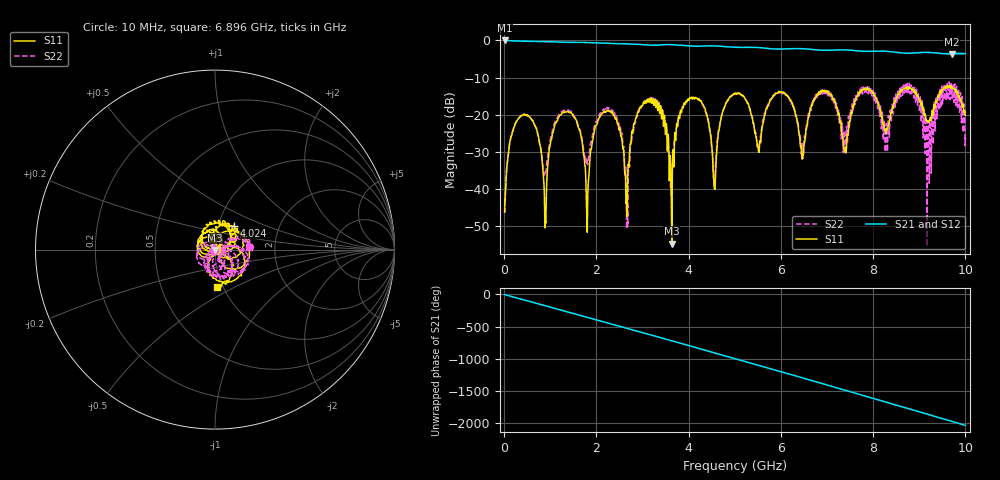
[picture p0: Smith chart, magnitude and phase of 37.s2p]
!Keysight Technologies,E5080B,MY59205177,A.15.75.32
!Date: Friday, February 23, 2024 03:29:00
!Correction: S11(Cdelta 2-Port  )
!S21(Cdelta 2-Port  )
!S12(Cdelta 2-Port  )
!S22(Cdelta 2-Port  )
!S2P File: Measurements: S11, S21, S12, S22:
# Hz S  dB  R 50
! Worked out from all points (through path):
!   10001 points, 10 MHz to 10 GHz, reference 50 ohm
!   highest |S21| = -0.02 dB at 14 MHz (marker M1); lowest = -3.7 dB at 9.701 GHz (marker M2)
!   group delay of S21, straight-line fit = 565 ps
!   lowest |S11| = -54.6 dB at 3.633 GHz (marker M3), VSWR 1.00, Z = 50 - j0.181 ohm
!   |S11| at or under -10 dB: start of sweep to end of sweep
!   |S22| runs from -55.3 to -11.2 dB; largest |S21 - S12| = 0.0015
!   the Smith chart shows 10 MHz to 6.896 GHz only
!   S11 on the Smith chart (normalised r, x): 10 MHz: 1.01, -0.00; 4.024 GHz: 1.19, +0.33; 6.896 GHz: 0.93, -0.41
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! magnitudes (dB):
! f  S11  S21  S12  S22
! 10 MHz  -46.1  0.0  0.0  -46.0
! 14 MHz  -43.2  0.0  0.0  -45.7
! 374.6 MHz  -20.2  -0.2  -0.2  -20.1
! 888.1 MHz  -49.7  -0.3  -0.3  -36.1
! 1.182 GHz  -20.7  -0.4  -0.4  -20.1
! 1.675 GHz  -26.0  -0.5  -0.5  -25.4
! 1.804 GHz  -49.8  -0.6  -0.6  -32.7
! 2.35 GHz  -19.4  -0.8  -0.8  -18.8
! 2.664 GHz  -47.4  -0.9  -0.9  -42.6
! 3.341 GHz  -17.5  -1.2  -1.2  -17.8
! 3.633 GHz  -54.6  -1.1  -1.1  -44.3
! 4.024 GHz  -15.3  -1.5  -1.5  -15.5
! 4.561 GHz  -39.8  -1.5  -1.5  -38.9
! 5.005 GHz  -14.2  -1.8  -1.8  -14.5
! 5.517 GHz  -29.8  -1.9  -1.9  -28.8
! 6.67 GHz  -17.3  -2.4  -2.4  -16.9
! 6.896 GHz  -13.6  -2.6  -2.6  -14.4
! 7.384 GHz  -29.9  -2.6  -2.6  -25.8
! 7.795 GHz  -13.1  -2.9  -2.9  -12.8
! 8.336 GHz  -22.7  -3.0  -3.0  -20.7
! 9.701 GHz  -12.2  -3.7  -3.7  -13.9
! 10 GHz  -20.1  -3.6  -3.6  -26.0
